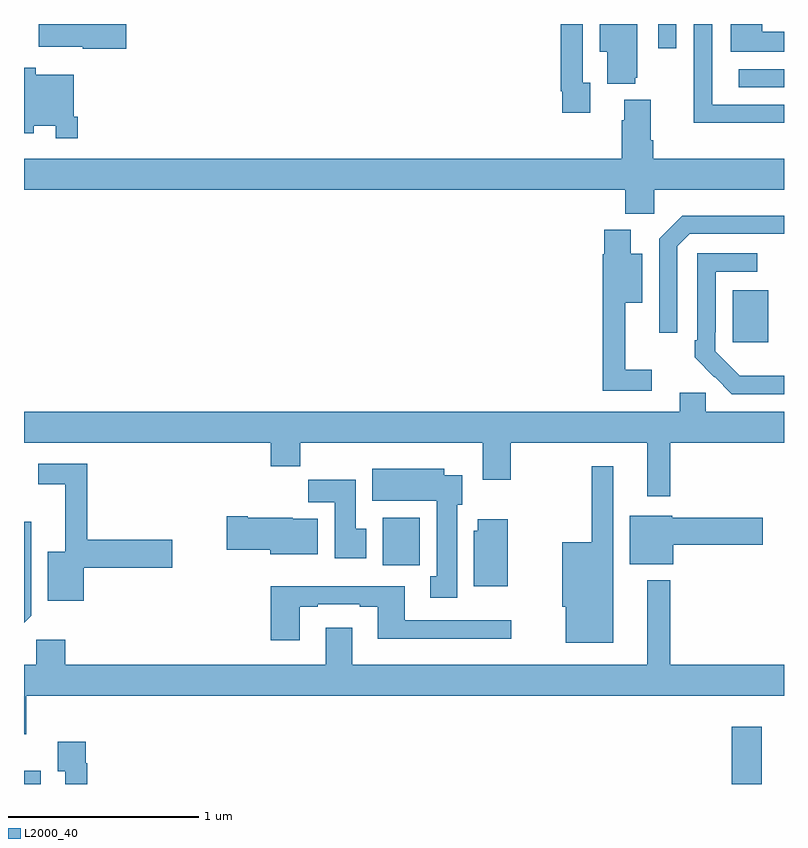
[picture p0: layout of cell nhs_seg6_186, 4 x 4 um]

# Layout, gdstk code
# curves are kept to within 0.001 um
import gdstk
lib = gdstk.Library(unit=1e-6, precision=1e-09)
def R(c, l, rs):  # rectangles x0, y0, x1, y1
    for r in rs: c.add(gdstk.rectangle(r[:2], r[2:], *l))
def P(c, l, *ps):  # polygons
    for p in ps: c.add(gdstk.Polygon(p, *l))
L2000_40 = (2000, 40)

nhs_seg6_186 = lib.new_cell('nhs_seg6_186')
R(nhs_seg6_186, L2000_40, [(119,985.5,119.089,985.57), (122.726,985.5,122.884,985.801), (120.887,986.652,121.083,986.902), (122.729,987.825,122.917,988.099), (122.763,989.166,123,989.262), (122.337,989.373,122.433,989.5)])
P(nhs_seg6_186, L2000_40, [(122.216,989.217),(122.227,989.217),(122.227,989.5),(122.03,989.5),(122.03,989.354),(122.069,989.354),(122.069,989.186),(122.216,989.186)],
  [(119.539,989.5),(119.078,989.5),(119.078,989.381),(119.31,989.381),(119.31,989.369),(119.539,989.369)],
  [(123,989.458),(122.886,989.458),(122.886,989.5),(122.72,989.5),(122.72,989.354),(123,989.354)],
  [(121.981,989.19),(121.941,989.19),(121.941,989.5),(121.825,989.5),(121.825,989.146),(121.833,989.146),(121.833,989.034),(121.981,989.034)],
  [(122.987,988.98),(123,988.98),(123,989.076),(122.623,989.076),(122.623,989.297),(122.622,989.297),(122.622,989.5),(122.526,989.5),(122.526,989.285),(122.524,989.285),(122.524,988.979),(122.987,988.979)],
  [(119.282,989.011),(119.262,989.011),(119.262,989.233),(119.063,989.233),(119.063,989.269),(119,989.269),(119,988.925),(119.05,988.925),(119.05,988.964),(119.166,988.964),(119.166,988.899),(119.282,988.899)],
  [(122.316,988.628),(123,988.628),(123,988.792),(122.312,988.792),(122.312,988.888),(122.299,988.888),(122.299,989.101),(122.159,989.101),(122.159,988.994),(122.147,988.994),(122.147,988.792),(119,988.792),(119,988.628),(122.165,988.628),(122.165,988.502),(122.316,988.502)],
  [(122.439,988.329),(122.505,988.395),(123,988.395),(123,988.492),(122.464,988.492),(122.343,988.371),(122.343,987.876),(122.439,987.876)],
  [(122.305,987.679),(122.165,987.679),(122.165,988.034),(122.254,988.034),(122.254,988.291),(122.194,988.291),(122.194,988.417),(122.054,988.417),(122.054,988.287),(122.047,988.287),(122.047,987.57),(122.305,987.57)],
  [(123,987.648),(122.766,987.649),(122.637,987.777),(122.637,987.877),(122.64,987.877),(122.64,988.197),(122.86,988.197),(122.86,988.293),(122.544,988.293),(122.544,987.835),(122.529,987.835),(122.529,987.747),(122.726,987.552),(123,987.552)],
  [(122.401,987.296),(123,987.296),(123,987.46),(122.589,987.46),(122.589,987.558),(122.45,987.558),(122.45,987.46),(119,987.46),(119,987.296),(120.299,987.296),(120.299,987.172),(120.455,987.172),(120.455,987.296),(121.415,987.296),(121.415,987.102),(121.563,987.102),(121.563,987.296),(122.279,987.296),(122.279,987.015),(122.401,987.015)],
  [(119.314,986.639),(119.779,986.639),(119.779,986.786),(119.333,986.786),(119.333,987.186),(119.076,987.186),(119.076,987.078),(119.216,987.078),(119.216,986.722),(119.126,986.722),(119.126,986.465),(119.314,986.465)],
  [(122.101,987.172),(121.987,987.172),(121.987,986.773),(121.832,986.773),(121.832,986.433),(121.85,986.433),(121.85,986.243),(122.101,986.243)],
  [(121.279,986.97),(121.306,986.97),(121.306,987.124),(121.213,987.124),(121.213,987.16),(120.833,987.16),(120.833,986.99),(121.172,986.99),(121.172,986.593),(121.139,986.593),(121.139,986.481),(121.279,986.481)],
  [(120.802,986.844),(120.745,986.844),(120.745,987.102),(120.496,987.102),(120.496,986.984),(120.635,986.984),(120.635,986.688),(120.802,986.688)],
  [(122.416,986.759),(122.887,986.759),(122.887,986.901),(122.412,986.901),(122.412,986.911),(122.189,986.911),(122.189,986.657),(122.416,986.657)],
  [(120.547,986.896),(120.414,986.896),(120.414,986.902),(120.178,986.902),(120.178,986.91),(120.066,986.91),(120.066,986.732),(120.296,986.732),(120.296,986.708),(120.547,986.708)],
  [(121.546,986.893),(121.388,986.893),(121.388,986.832),(121.367,986.832),(121.367,986.54),(121.546,986.54)],
  [(119.037,986.385),(119.037,986.881),(119,986.881),(119,986.348)],
  [(119.012,985.964),(123,985.964),(123,986.128),(122.401,986.128),(122.401,986.572),(122.279,986.572),(122.279,986.128),(120.727,986.128),(120.727,986.323),(120.587,986.323),(120.587,986.128),(119.216,986.128),(119.216,986.26),(119.064,986.26),(119.064,986.128),(119,986.128),(119,985.762),(119.012,985.762)],
  [(120.451,986.433),(120.547,986.433),(120.547,986.445),(120.767,986.445),(120.767,986.433),(120.863,986.433),(120.863,986.264),(121.564,986.264),(121.564,986.361),(121.003,986.361),(121.003,986.542),(120.299,986.542),(120.299,986.256),(120.451,986.256)],
  [(119.333,985.61),(119.326,985.61),(119.326,985.723),(119.177,985.723),(119.177,985.567),(119.217,985.567),(119.217,985.5),(119.333,985.5)])

lib.write_gds('nhs_seg6_186.gds')
